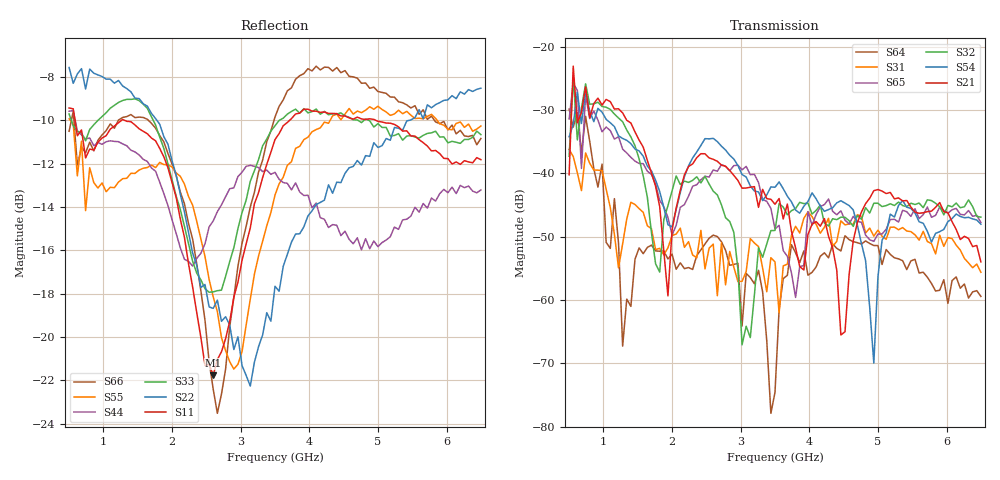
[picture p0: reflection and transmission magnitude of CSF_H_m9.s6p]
!Keysight Technologies,M9804A,MY58100912,A.14.10.03
!Date: Thursday, April 27, 2023 10:28:33
!Correction: S11(C  6-Port  )
!S12(C  6-Port  )
!S13(C  6-Port  )
!S14(C  6-Port  )
!S15(C  6-Port  )
!S16(C  6-Port  )
!S21(C  6-Port  )
!S22(C  6-Port  )
!S23(C  6-Port  )
!S24(C  6-Port  )
!S25(C  6-Port  )
!S26(C  6-Port  )
!S31(C  6-Port  )
!S32(C  6-Port  )
!S33(C  6-Port  )
!S34(C  6-Port  )
!S35(C  6-Port  )
!S36(C  6-Port  )
!S41(C  6-Port  )
!S42(C  6-Port  )
!S43(C  6-Port  )
!S44(C  6-Port  )
!S45(C  6-Port  )
!S46(C  6-Port  )
!S51(C  6-Port  )
!S52(C  6-Port  )
!S53(C  6-Port  )
!S54(C  6-Port  )
!S55(C  6-Port  )
!S56(C  6-Port  )
!S61(C  6-Port  )
!S62(C  6-Port  )
!S63(C  6-Port  )
!S64(C  6-Port  )
!S65(C  6-Port  )
!S66(C  6-Port  )
!S6P File: Measurement: :
# Hz S  RI  R 50
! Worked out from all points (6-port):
!   101 points, 500 MHz to 6.5 GHz, reference 50 ohm
!   strongest paths, dB at 500 MHz, 2 GHz, 3.5 GHz, 5 GHz, 6.5 GHz:
!     S21: -40.2, -49.0, -44.9, -42.5, -54.0
!     S54: -34.2, -48.4, -42.2, -56.3, -48.0
!     S32: -37.3, -42.8, -49.0, -44.7, -46.9
!     S65: -31.4, -49.7, -48.8, -49.6, -47.8
!     S31: -36.2, -49.8, -54.0, -48.9, -55.6
!     S64: -29.8, -52.8, -74.6, -51.4, -59.4
!   lowest |S11| = -21.8 dB at 2.6 GHz (marker M1), VSWR 1.18, Z = 42.7 + j1.97 ohm
!   |S11| at or under -10 dB: 585.3 MHz to 1.267 GHz (681.5 MHz wide, 73.6 % of centre); 1.304 GHz to 3.715 GHz (2.411 GHz wide, 96.1 % of centre); 4.965 GHz to end of sweep
